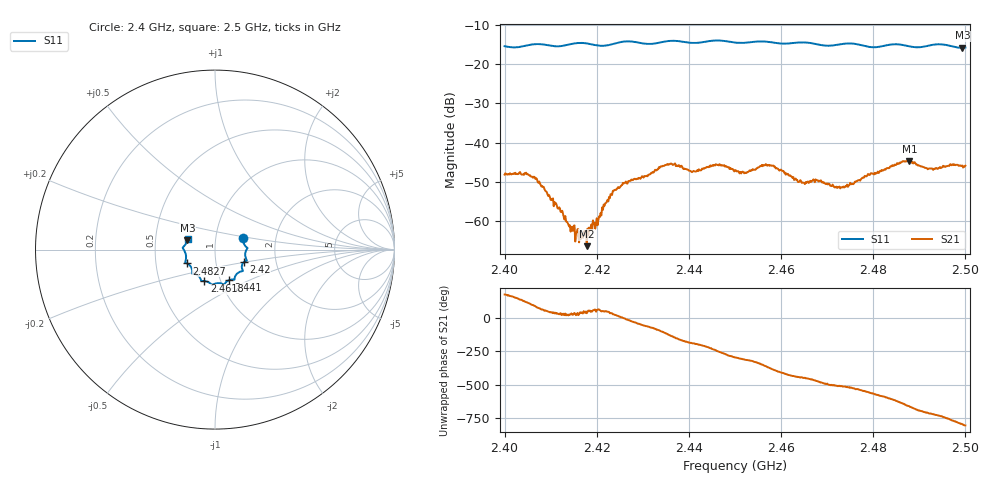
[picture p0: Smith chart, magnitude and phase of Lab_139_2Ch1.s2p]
# Hz S RI R 50
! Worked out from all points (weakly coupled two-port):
!   601 points, 2.4 GHz to 2.5 GHz, reference 50 ohm
!   highest |S21| = -44.66 dB at 2.4878 GHz (marker M1); lowest = -66.4 dB at 2.4178 GHz (marker M2)
!   lowest |S11| = -15.8 dB at 2.4993 GHz (marker M3), VSWR 1.39, Z = 36.5 + j3.84 ohm
!   |S11| at or under -10 dB: start of sweep to end of sweep
!   S12 and S22 are empty: the file has one direction only
!   S11 on the Smith chart (normalised r, x): 2.4 GHz: 1.36, +0.18; 2.42 GHz: 1.36, -0.20; 2.441 GHz: 1.10, -0.39; 2.4618 GHz: 0.84, -0.30; 2.4827 GHz: 0.72, -0.12; 2.5 GHz: 0.73, +0.09
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2.4e9  0.1582 0.063  -0.00388 0.000403  0 0  0 0
2.4065e9  0.1802 0.00977  6.4e-05 0.00365  0 0  0 0
2.413833e9  0.1718 -0.0475  0.00086 0.000284  0 0  0 0
2.416667e9  0.1772 -0.0609  0.000564 0.000402  0 0  0 0
2.417833e9  0.174 -0.0626  0.000393 0.00027  0 0  0 0
2.42e9  0.1598 -0.0704  0.000577 0.000918  0 0  0 0
2.424e9  0.1512 -0.1065  0.00234 0.000888  0 0  0 0
2.433333e9  0.1115 -0.1507  -9.69e-05 -0.00458  0 0  0 0
2.4365e9  0.1086 -0.1674  -0.00395 -0.00337  0 0  0 0
2.441e9  0.0788 -0.1697  -0.00427 0.000856  0 0  0 0
2.446167e9  0.0496 -0.1953  -0.0019 0.00481  0 0  0 0
2.45e9  0.0285 -0.1872  0.00194 0.00401  0 0  0 0
2.457167e9  -0.0208 -0.1924  0.00506 -0.000932  0 0  0 0
2.461833e9  -0.0592 -0.1753  0.00137 -0.00353  0 0  0 0
2.466667e9  -0.0787 -0.1682  -0.00056 -0.00319  0 0  0 0
2.473333e9  -0.1223 -0.1346  -0.00241 -0.00117  0 0  0 0
2.482667e9  -0.1558 -0.0772  -0.00262 0.00369  0 0  0 0
2.483333e9  -0.1601 -0.0751  -0.00217 0.00419  0 0  0 0
2.487833e9  -0.1616 -0.0517  0.00304 0.00499  0 0  0 0
2.492e9  -0.1729 -0.00201  0.00461 0.000653  0 0  0 0
2.499333e9  -0.154 0.0512  0.00132 -0.00494  0 0  0 0
2.5e9  -0.1523 0.0606  0.000484 -0.00506  0 0  0 0
